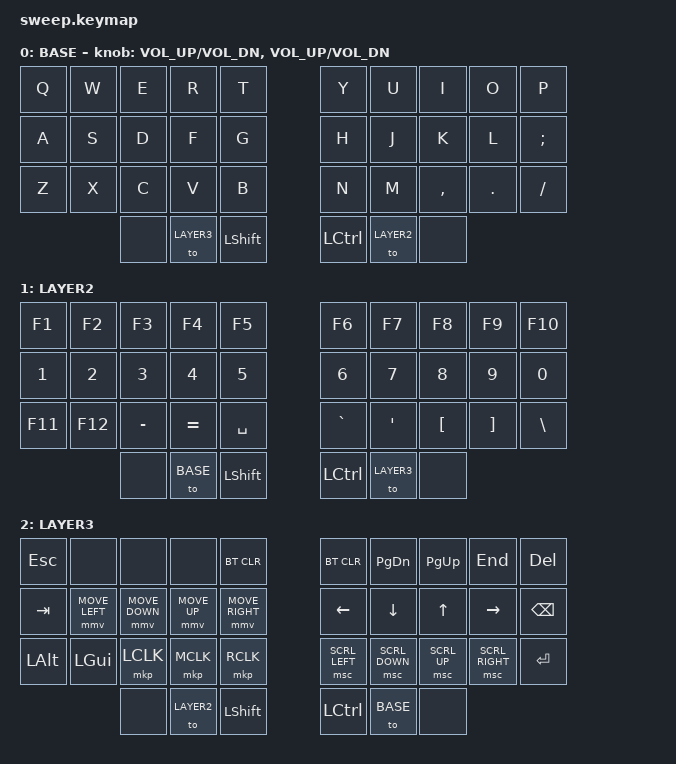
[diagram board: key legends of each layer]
// Copyright (c) 2022 The ZMK Contributors
// SPDX-License-Identifier: MIT

#define ZMK_POINTING_DEFAULT_MOVE_VAL 2500// 600
#define ZMK_POINTING_DEFAULT_SCRL_VAL 20// 10

#include <behaviors.dtsi>
#include <dt-bindings/zmk/bt.h>
#include <dt-bindings/zmk/keys.h>
#include <dt-bindings/zmk/pointing.h>


#define BASE 0
#define LAYER2 1
#define LAYER3 2

/ {
	behaviors {
		mmv {
			acceleration-exponent = <1>;// 1
			time-to-max-speed-ms = <300>;// 40
			delay-ms = <0>;// 0
		};
		msc {
			acceleration-exponent = <0>;// 0
			time-to-max-speed-ms = <40>;// 500
			delay-ms = <0>;// 10
		};
	};

	keymap {
		compatible = "zmk,keymap";

		base_layer {
			display-name = "BASE";
			bindings = <
			&kp Q   &kp W           &kp E          &kp R           &kp T             &kp Y           &kp U               &kp I             &kp O              &kp P
			&kp A   &kp S           &kp D          &kp F           &kp G             &kp H           &kp J               &kp K             &kp L              &kp SEMI
			&kp Z   &kp X           &kp C          &kp V           &kp B             &kp N           &kp M               &kp COMMA         &kp DOT            &kp FSLH
			&none   &to LAYER3      &kp LSHFT      &kp LCTRL       &to LAYER2        &none
			>;
			sensor-bindings = <&inc_dec_kp C_VOL_UP C_VOL_DN &inc_dec_kp C_VOL_UP C_VOL_DN>;
		};

		layer2 {
			display-name = "LAYER2";
			bindings = <
			&kp F1  &kp F2         &kp F3         &kp F4         &kp F5            &kp F6          &kp F7              &kp F8            &kp F9             &kp F10
			&kp N1  &kp N2         &kp N3         &kp N4         &kp N5            &kp N6          &kp N7              &kp N8            &kp N9             &kp N0
			&kp F11 &kp F12        &kp MINUS      &kp EQUAL      &kp SPACE         &kp GRAVE       &kp SQT             &kp LBKT          &kp RBKT           &kp BSLH
			&none   &to BASE       &kp LSHFT      &kp LCTRL      &to LAYER3        &none
			>;
		};

		layer3 {
			display-name = "LAYER3";
			bindings = <
			/* RMK MouseAccel0/1/2 have no direct ZMK equivalent. */
			&kp ESC    &none             &none             &none             &bt BT_CLR         &bt BT_CLR          &kp PG_DN           &kp PG_UP            &kp END            &kp DEL
			&kp TAB    &mmv MOVE_LEFT    &mmv MOVE_DOWN    &mmv MOVE_UP      &mmv MOVE_RIGHT    &kp LEFT            &kp DOWN            &kp UP               &kp RIGHT          &kp BSPC
			&kp LALT   &kp LGUI          &mkp LCLK         &mkp MCLK         &mkp RCLK          &msc SCRL_LEFT      &msc SCRL_DOWN       &msc SCRL_UP         &msc SCRL_RIGHT    &kp ENTER
			&none      &to LAYER2        &kp LSHFT         &kp LCTRL         &to BASE           &none
			>;
		};
	};
};
